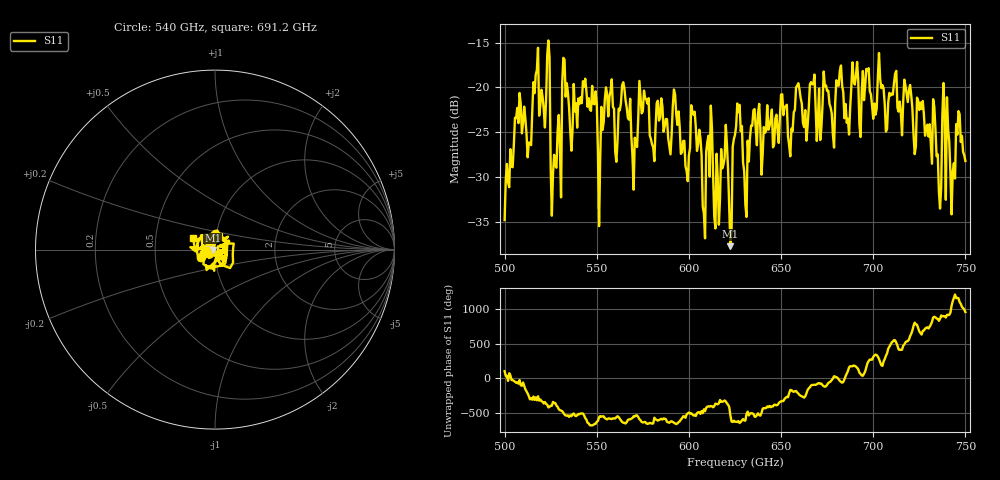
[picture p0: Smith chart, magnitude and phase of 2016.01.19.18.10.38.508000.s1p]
!Created with skrf (http://scikit-rf.org).
# GHz S RI R 50.0
!freq ReS11 ImS11
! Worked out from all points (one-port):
!   401 points, 500 GHz to 750 GHz, reference 50 ohm
!   lowest |S11| = -37.8 dB at 622.5 GHz (marker M1), VSWR 1.03, Z = 48.7 - j0.173 ohm
!   |S11| at or under -10 dB: start of sweep to end of sweep
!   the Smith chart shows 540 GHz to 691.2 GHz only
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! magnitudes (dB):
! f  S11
! 500 GHz  -34.8
! 506.9 GHz  -22.3
! 513.8 GHz  -26.2
! 516.9 GHz  -18.6
! 523.1 GHz  -16.4
! 526.2 GHz  -29.6
! 531.2 GHz  -19.4
! 548.8 GHz  -21.9
! 551.9 GHz  -27.8
! 562.5 GHz  -22.6
! 570.6 GHz  -25.6
! 574.4 GHz  -22.9
! 580 GHz  -26.4
! 593.8 GHz  -24.2
! 620 GHz  -24.2
! 622.5 GHz  -37.8
! 625 GHz  -25.3
! 630.6 GHz  -33.1
! 635 GHz  -22.5
! 656.2 GHz  -24.9
! 687.5 GHz  -22.2
! 718.8 GHz  -21.6
! 733.8 GHz  -24.7
! 735.6 GHz  -31.6
! 738.8 GHz  -23.4
! 743.1 GHz  -29.4
! 746.2 GHz  -22.6
! 750 GHz  -28.2
